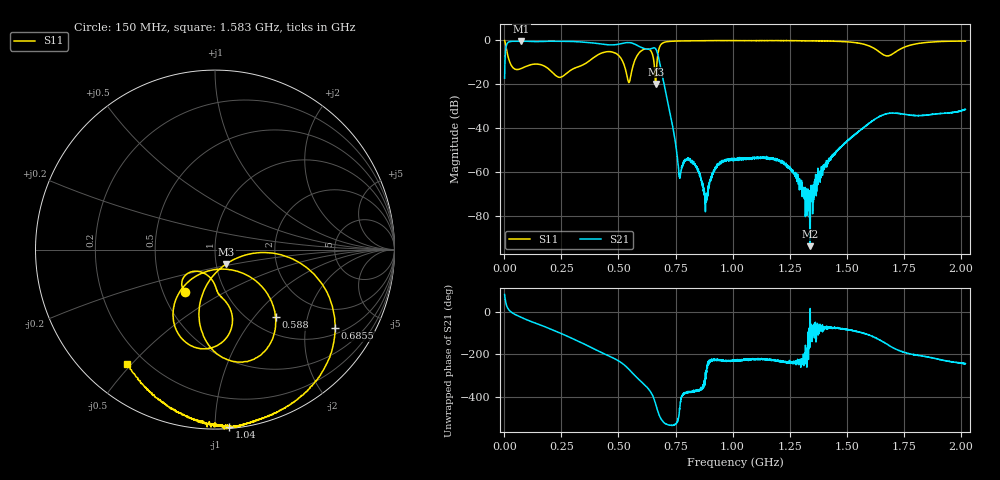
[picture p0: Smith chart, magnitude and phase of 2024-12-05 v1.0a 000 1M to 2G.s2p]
# HZ S RI R 50
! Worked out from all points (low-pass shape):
!   4040 points, 1 MHz to 2.021 GHz, reference 50 ohm
!   highest |S21| = -0.30 dB at 74.5 MHz (marker M1); lowest = -93.5 dB at 1.339 GHz (marker M2)
!   |S21| within 3 dB of the highest: 6.81 MHz to 602.4 MHz (595.6 MHz wide, 196 % of centre)
!   lowest |S11| = -19.8 dB at 663 MHz (marker M3), VSWR 1.23, Z = 56.1 - j9 ohm
!   |S11| at or under -10 dB: 24.2 MHz to 362.3 MHz (338.1 MHz wide, 175 % of centre); 520.6 MHz to 568.4 MHz (47.72 MHz wide, 8.76 % of centre); 655.7 MHz to 668.8 MHz (13.08 MHz wide, 1.97 % of centre)
!   S12 and S22 are empty: the file has one direction only
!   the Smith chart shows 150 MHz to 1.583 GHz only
!   S11 on the Smith chart (normalised r, x): 150 MHz: 0.64, -0.33; 588 MHz: 1.29, -1.29; 685.5 MHz: 1.21, -2.91; 1.04 GHz: 0.01, -1.08; 1.583 GHz: 0.14, -0.48
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1000000  0.9813 -0.1419  0.0149 0.1379  0 0  0 0
2.25e7  0.0633 -0.3274  0.9277 0.1291  0 0  0 0
7.45e7  -0.0217 -0.2302  0.8751 -0.4081  0 0  0 0
1.5e8  -0.169 -0.2341  0.5085 -0.7946  0 0  0 0
3.38e8  0.0379 -0.2667  -0.754 -0.5303  0 0  0 0
4.925e8  -0.2173 -0.445  -0.5618 0.5812  0 0  0 0
5.455e8  0.00806 -0.1103  0.00797 0.8951  0 0  0 0
5.88e8  0.3377 -0.375  0.5496 0.5034  0 0  0 0
6.63e8  0.064 -0.0795  0.1696 -0.6242  0 0  0 0
6.745e8  0.5373 -0.1237  -0.196 -0.3902  0 0  0 0
6.855e8  0.6695 -0.4353  -0.1905 -0.1387  0 0  0 0
7.695e8  0.3036 -0.9236  7.97e-06 -0.00081  0 0  0 0
8.3e8  0.1932 -0.9648  0.00172 -0.000371  0 0  0 0
8.825e8  0.1388 -0.9807  0.000195 0.00018  0 0  0 0
1.011e9  0.0854 -0.9881  -0.00133 0.00153  0 0  0 0
1.0405e9  0.0778 -0.9864  -0.00126 0.00143  0 0  0 0
1.3385e9  0.0198 -0.9792  -2.06e-05 -4.68e-06  0 0  0 0
1.3475e9  0.0114 -0.9771  -0.000209 -0.000399  0 0  0 0
1.583e9  -0.49 -0.6365  -0.0024 -0.0111  0 0  0 0
1.684e9  -0.1434 0.4242  -0.0202 -0.00885  0 0  0 0
1.791e9  0.7994 0.1249  -0.0185 0.00692  0 0  0 0
2.0205e9  0.8719 -0.4141  -0.012 0.0242  0 0  0 0
